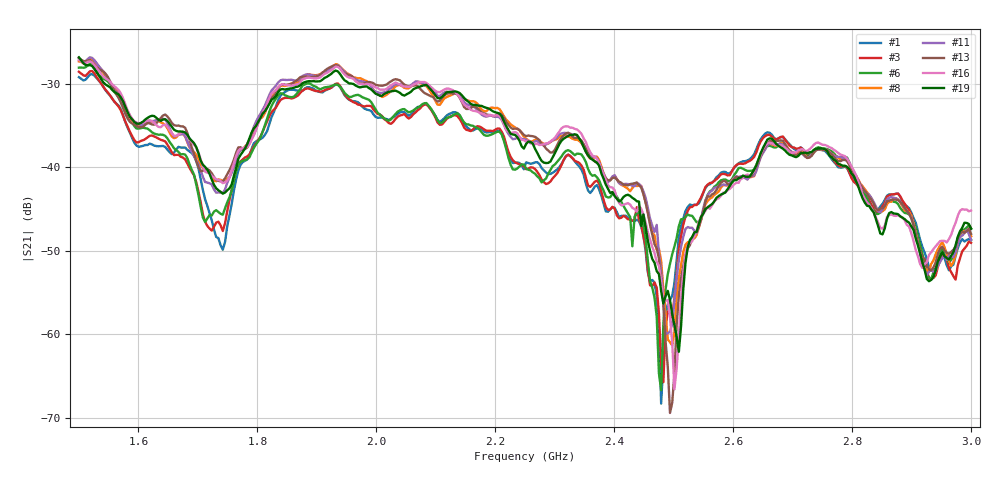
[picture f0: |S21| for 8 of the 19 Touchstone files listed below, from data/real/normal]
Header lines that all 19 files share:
# HZ S RI R 50
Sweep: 1.5 GHz to 3 GHz
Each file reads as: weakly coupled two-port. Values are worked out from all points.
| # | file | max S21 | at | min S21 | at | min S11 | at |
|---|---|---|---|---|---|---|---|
| 1 | Normal_066.s2p | -28.83 dB | 1.522 GHz | -68.3 dB | 2.479 GHz | -31.7 dB | 1.507 GHz |
| 2 | Normal_068.s2p | -28.92 dB | 1.5 GHz | -61.7 dB | 2.483 GHz | -32.0 dB | 1.507 GHz |
| 3 | Normal_070.s2p | -28.46 dB | 1.522 GHz | -65.7 dB | 2.483 GHz | -32.1 dB | 2.23 GHz |
| 4 | Normal_074.s2p | -27.64 dB | 1.519 GHz | -73.4 dB | 2.479 GHz | -33.0 dB | 2.23 GHz |
| 5 | Normal_076.s2p | -27.74 dB | 1.519 GHz | -71.6 dB | 2.479 GHz | -32.9 dB | 2.23 GHz |
| 6 | Normal_077.s2p | -27.57 dB | 1.519 GHz | -66.7 dB | 2.479 GHz | -34.5 dB | 2.23 GHz |
| 7 | Normal_080.s2p | -27.79 dB | 1.519 GHz | -68.5 dB | 2.479 GHz | -33.7 dB | 2.23 GHz |
| 8 | Normal_082.s2p | -27.02 dB | 1.522 GHz | -61.3 dB | 2.498 GHz | -32.7 dB | 2.084 GHz |
| 9 | Normal_083.s2p | -26.99 dB | 1.519 GHz | -63.6 dB | 2.498 GHz | -33.5 dB | 2.084 GHz |
| 10 | Normal_084.s2p | -26.69 dB | 1.519 GHz | -59.5 dB | 2.494 GHz | -33.2 dB | 2.084 GHz |
| 11 | Normal_086.s2p | -26.80 dB | 1.519 GHz | -60.0 dB | 2.486 GHz | -33.6 dB | 2.084 GHz |
| 12 | Normal_087.s2p | -26.94 dB | 1.5 GHz | -71.5 dB | 2.49 GHz | -33.7 dB | 2.084 GHz |
| 13 | Normal_088.s2p | -26.88 dB | 1.5 GHz | -69.4 dB | 2.494 GHz | -32.7 dB | 2.084 GHz |
| 14 | Normal_089.s2p | -26.81 dB | 1.519 GHz | -62.5 dB | 2.494 GHz | -34.0 dB | 2.084 GHz |
| 15 | Normal_090.s2p | -26.75 dB | 1.5 GHz | -58.6 dB | 2.498 GHz | -34.0 dB | 2.084 GHz |
| 16 | Normal_091.s2p | -27.15 dB | 1.5 GHz | -66.6 dB | 2.501 GHz | -33.8 dB | 2.084 GHz |
| 17 | Normal_096.s2p | -27.22 dB | 1.5 GHz | -64.7 dB | 2.505 GHz | -33.0 dB | 2.084 GHz |
| 18 | Normal_097.s2p | -27.16 dB | 1.5 GHz | -59.3 dB | 2.494 GHz | -34.9 dB | 2.084 GHz |
| 19 | Normal_098.s2p | -26.81 dB | 1.5 GHz | -62.1 dB | 2.509 GHz | -35.5 dB | 2.084 GHz |
